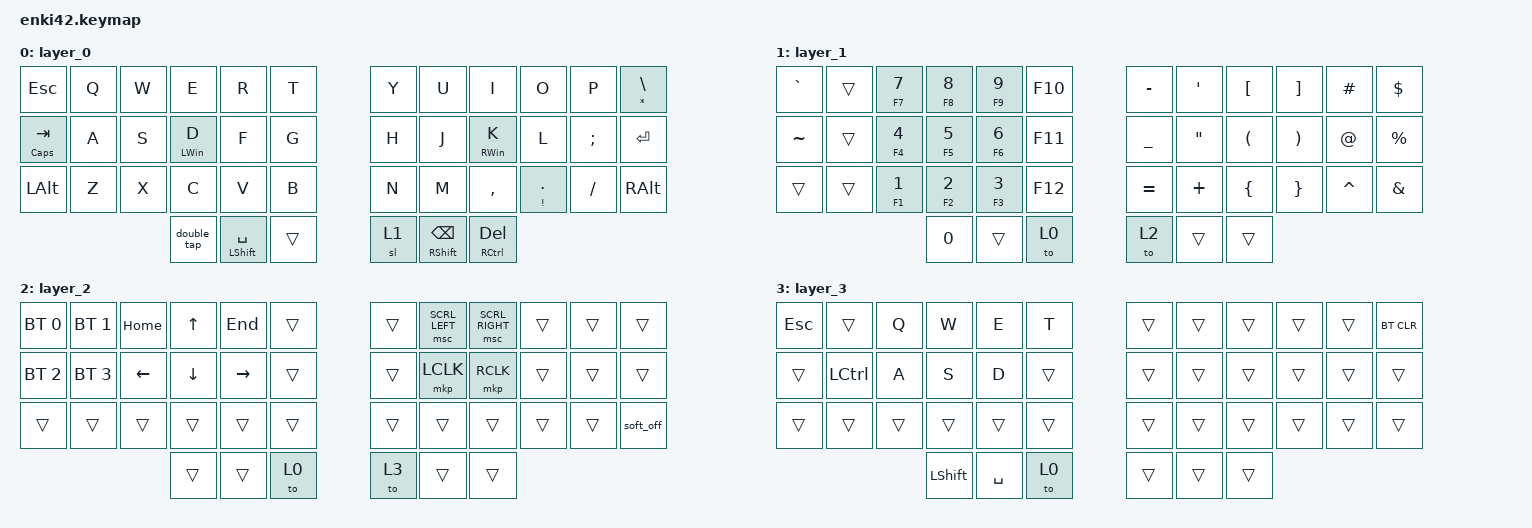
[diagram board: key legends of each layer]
#include <dt-bindings/zmk/mouse.h>
#include <behaviors.dtsi>
#include <dt-bindings/zmk/bt.h>
#include <dt-bindings/zmk/keys.h>
#include <dt-bindings/zmk/pointing.h>

/ {
    behaviors {
        hml: homewrow_mods_left {
            compatible = "zmk,behavior-hold-tap";
            label = "HOMEROW_MODS_LEFT_HAND";
            bindings = <&kp>, <&kp>;

            #binding-cells = <2>;
            tapping-term-ms = <200>;
            hold-trigger-key-positions = <6 18 30 40 41 19 7 7 8 9 10 11 19 20 21 22 23 31 32 33 34 35 41 18 19 30 31 39 40>;
            flavor = "balanced";
        };

        hmr: homewrow_mods_right {
            compatible = "zmk,behavior-hold-tap";
            label = "HOMEROW_MODS_RIGHT_HAND";
            bindings = <&kp>, <&kp>;

            #binding-cells = <2>;
            tapping-term-ms = <200>;
            hold-trigger-key-positions = <0 1 2 3 4 5 12 13 14 15 16 17 24 25 26 27 28 29 36 37 38>;
            flavor = "balanced";
        };

        sticky_tap: sticky_tap {
            compatible = "zmk,behavior-hold-tap";
            label = "STICKY_TAP";
            bindings = <&sk>, <&kp>;

            #binding-cells = <2>;
            tapping-term-ms = <200>;
            flavor = "balanced";
        };

        double_tap: double_tap {
            compatible = "zmk,behavior-tap-dance";
            label = "DOUBLE_TAP";
            #binding-cells = <0>;
            bindings = <&kp LCTRL>, <&kp LS(LCTRL)>;
        };
    };

    combos {
        compatible = "zmk,combos";

        soft_off {
            bindings = <&soft_off>;
            key-positions = <13 14 16 15 19 20 21 22>;
            layers = <0>;
        };

        parentheses {
            bindings = <&parentheses>;
            key-positions = <20 21>;
            layers = <1>;
        };

        square_braces {
            bindings = <&braces>;
            key-positions = <8 9>;
            layers = <1>;
        };

        curly_brackets {
            bindings = <&curly_brackets>;
            key-positions = <32 33>;
            layers = <1>;
        };

        dqp {
            bindings = <&double_quote_parentheses>;
            key-positions = <19 20>;
            layers = <1>;
        };

        sqp {
            bindings = <&single_quote_parentheses>;
            key-positions = <20 7>;
            layers = <1>;
        };

        dqs {
            bindings = <&double_quote_square_brackets>;
            key-positions = <8 19>;
            layers = <1>;
        };

        sqs {
            bindings = <&single_quote_square_brackets>;
            key-positions = <8 7>;
            layers = <1>;
        };

        dqc {
            bindings = <&double_quote_curly_brackets>;
            key-positions = <32 19>;
            layers = <1>;
        };

        sqc {
            bindings = <&single_quote_curly_brackets>;
            key-positions = <32 7>;
            layers = <1>;
        };

        nav_combo {
            bindings = <&sl 2>;
            key-positions = <20 21>;
            layers = <0>;
        };

        num_combo {
            bindings = <&sl 1>;
            key-positions = <19 20>;
            layers = <0>;
        };

        symbol_combo {
            bindings = <&sl 1>;
            key-positions = <15 16>;
            layers = <0>;
        };

        u_i_scroll_up {
            bindings = <&msc SCRL_UP>;
            key-positions = <7 8>;
            layers = <2>;
        };

        m_comma_scroll_down {
            bindings = <&msc SCRL_DOWN>;
            key-positions = <31 32>;
            layers = <2>;
        };

        mouse_combo {
            bindings = <&sl 2>;
            key-positions = <14 15>;
            layers = <0>;
        };
    };

    macros {
        parentheses: Parentheses {
            compatible = "zmk,behavior-macro";
            #binding-cells = <0>;
            bindings = <&kp LEFT_PARENTHESIS &kp RIGHT_PARENTHESIS &kp LEFT>;
            label = "PARENTHESES";
        };

        braces: Braces {
            compatible = "zmk,behavior-macro";
            #binding-cells = <0>;
            bindings = <&kp LEFT_BRACKET &kp RIGHT_BRACKET &kp LEFT>;
            label = "BRACES";
        };

        curly_brackets: curly_brackets {
            compatible = "zmk,behavior-macro";
            #binding-cells = <0>;
            bindings = <&kp LEFT_BRACE &kp RIGHT_BRACE &kp LEFT>;
            label = "CURLY_BRACKETS";
        };

        single_quote_parentheses: single_quote_parentheses {
            compatible = "zmk,behavior-macro";
            #binding-cells = <0>;
            bindings = <&kp LPAR &kp SQT &kp SQT &kp RPAR &kp LEFT &kp LEFT>;
            label = "SINGLE_QUOTE_PARENTHESES";
        };

        double_quote_parentheses: double_quote_parentheses {
            compatible = "zmk,behavior-macro";
            #binding-cells = <0>;
            bindings = <&kp LPAR &kp DQT &kp DQT &kp RPAR &kp LEFT &kp LEFT>;
            label = "DOUBLE_QUOTE_PARENTHESES";
        };

        single_quote_square_brackets: single_quote_square_brackets {
            compatible = "zmk,behavior-macro";
            #binding-cells = <0>;
            bindings = <&kp LBKT &kp SQT &kp SINGLE_QUOTE &kp RIGHT_BRACKET &kp LEFT &kp LEFT>;
            label = "SINGLE_QUOTE_SQUARE_BRACKETS";
        };

        double_quote_square_brackets: double_quote_square_brackets {
            compatible = "zmk,behavior-macro";
            #binding-cells = <0>;
            bindings = <&kp LEFT_BRACKET &kp DQT &kp DQT &kp RIGHT_BRACKET &kp LEFT &kp LEFT>;
            label = "DOUBLE_QUOTE_SQUARE_BRACKETS";
        };

        single_quote_curly_brackets: single_quote_curly_brackets {
            compatible = "zmk,behavior-macro";
            #binding-cells = <0>;
            bindings = <&kp LEFT_BRACE &kp SQT &kp SINGLE_QUOTE &kp RBRC &kp LEFT &kp LEFT>;
            label = "SINGLE_QUOTE_CURLY_BRACKETS";
        };

        double_quote_curly_brackets: double_quote_curly_brackets {
            compatible = "zmk,behavior-macro";
            #binding-cells = <0>;
            bindings = <&kp LEFT_BRACE &kp DQT &kp DQT &kp RBRC &kp LEFT &kp LEFT>;
            label = "DOUBLE_QUOTE_CURLY_BRACKETS";
        };
    };

    keymap {
        compatible = "zmk,keymap";

        layer_0 {
            bindings = <
&kp ESCAPE     &kp Q  &kp W  &kp E            &kp R                  &kp T   &kp Y  &kp U                       &kp I              &kp O                    &kp P          &hmr STAR BACKSLASH
&hml CAPS TAB  &kp A  &kp S  &hml LEFT_WIN D  &kp F                  &kp G   &kp H  &kp J                       &hmr RIGHT_WIN K   &kp L                    &kp SEMICOLON  &kp ENTER
&kp LEFT_ALT   &kp Z  &kp X  &kp C            &kp V                  &kp B   &kp N  &kp M                       &kp COMMA          &hmr EXCLAMATION PERIOD  &kp SLASH      &kp RIGHT_ALT
                             &double_tap      &hml LEFT_SHIFT SPACE  &trans  &sl 1  &hmr RIGHT_SHIFT BACKSPACE  &hmr RCTRL DELETE
            >;
        };

        layer_1 {
            bindings = <
&kp GRAVE  &trans  &hml F7 NUMBER_7  &hml F8 NUMBER_8  &hml F9 NUMBER_9  &kp F10  &kp MINUS       &kp SINGLE_QUOTE   &kp LEFT_BRACKET      &kp RIGHT_BRACKET      &kp HASH   &kp DOLLAR
&kp TILDE  &trans  &hml F4 NUMBER_4  &hml F5 NUMBER_5  &hml F6 NUMBER_6  &kp F11  &kp UNDERSCORE  &kp DOUBLE_QUOTES  &kp LEFT_PARENTHESIS  &kp RIGHT_PARENTHESIS  &kp AT     &kp PERCENT
&trans     &trans  &hml F1 NUMBER_1  &hml F2 NUMBER_2  &hml F3 NUMBER_3  &kp F12  &kp EQUAL       &kp PLUS           &kp LEFT_BRACE        &kp RIGHT_BRACE        &kp CARET  &kp AMPERSAND
                                     &kp NUMBER_0      &trans            &to 0    &to 2           &trans             &trans
            >;
        };

        layer_2 {
            bindings = <
&bt BT_SEL 0  &bt BT_SEL 1  &kp HOME        &kp UP_ARROW    &kp END          &trans  &trans  &msc SCRL_LEFT  &msc SCRL_RIGHT  &trans  &trans  &trans
&bt BT_SEL 2  &bt BT_SEL 3  &kp LEFT_ARROW  &kp DOWN_ARROW  &kp RIGHT_ARROW  &trans  &trans  &mkp LCLK       &mkp RCLK        &trans  &trans  &trans
&trans        &trans        &trans          &trans          &trans           &trans  &trans  &trans          &trans           &trans  &trans  &soft_off
                                            &trans          &trans           &to 0   &to 3   &trans          &trans
            >;
        };

        layer_3 {
            bindings = <
&kp ESCAPE  &trans     &kp Q   &kp W           &kp E      &kp T   &trans  &trans  &trans  &trans  &trans  &bt BT_CLR
&trans      &kp LCTRL  &kp A   &kp S           &kp D      &trans  &trans  &trans  &trans  &trans  &trans  &trans
&trans      &trans     &trans  &trans          &trans     &trans  &trans  &trans  &trans  &trans  &trans  &trans
                               &kp LEFT_SHIFT  &kp SPACE  &to 0   &trans  &trans  &trans
            >;
        };
    };

    conditional_layers { compatible = "zmk,conditional-layers"; };
};
